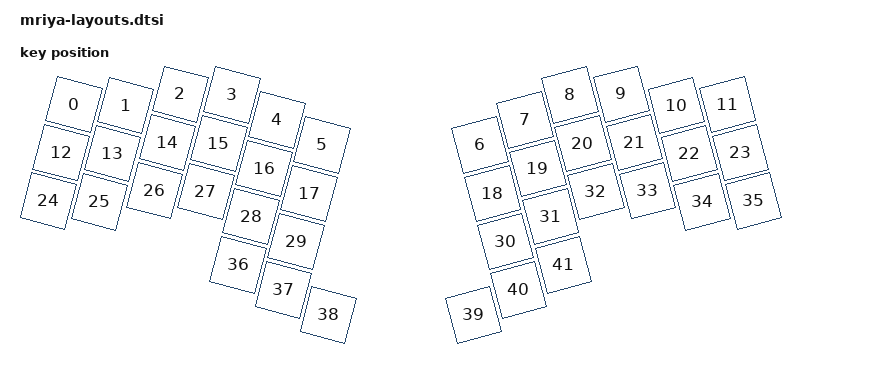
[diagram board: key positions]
#include <physical_layouts.dtsi>

/ {
    mriya_layout: mriya_layout_0 {
        compatible = "zmk,physical-layout";
        display-name = "MRIYA";

        kscan = <&kscan0>;
        transform = <&matrix_transform0>;

        keys  //                     w   h    x    y     rot    rx    ry
            = <&key_physical_attrs 100 100    0  100    1500   700    50>
            , <&key_physical_attrs 100 100  100   75    1500   700    50>
            , <&key_physical_attrs 100 100  200   25    1500   700    50>
            , <&key_physical_attrs 100 100  300    0    1500   700    50>
            , <&key_physical_attrs 100 100  400   25    1500   700    50>
            , <&key_physical_attrs 100 100  500   50    1500   700    50>
            , <&key_physical_attrs 100 100  800   50 (-1500)   700    50>
            , <&key_physical_attrs 100 100  900   25 (-1500)   700    50>
            , <&key_physical_attrs 100 100 1000    0 (-1500)   700    50>
            , <&key_physical_attrs 100 100 1100   25 (-1500)   700    50>
            , <&key_physical_attrs 100 100 1200   75 (-1500)   700    50>
            , <&key_physical_attrs 100 100 1300  100 (-1500)   700    50>
            , <&key_physical_attrs 100 100    0  200    1500   700    50>
            , <&key_physical_attrs 100 100  100  175    1500   700    50>
            , <&key_physical_attrs 100 100  200  125    1500   700    50>
            , <&key_physical_attrs 100 100  300  100    1500   700    50>
            , <&key_physical_attrs 100 100  400  125    1500   700    50>
            , <&key_physical_attrs 100 100  500  150    1500   700    50>
            , <&key_physical_attrs 100 100  800  150 (-1500)   700    50>
            , <&key_physical_attrs 100 100  900  125 (-1500)   700    50>
            , <&key_physical_attrs 100 100 1000  100 (-1500)   700    50>
            , <&key_physical_attrs 100 100 1100  125 (-1500)   700    50>
            , <&key_physical_attrs 100 100 1200  175 (-1500)   700    50>
            , <&key_physical_attrs 100 100 1300  200 (-1500)   700    50>
            , <&key_physical_attrs 100 100    0  300    1500   700    50>
            , <&key_physical_attrs 100 100  100  275    1500   700    50>
            , <&key_physical_attrs 100 100  200  225    1500   700    50>
            , <&key_physical_attrs 100 100  300  200    1500   700    50>
            , <&key_physical_attrs 100 100  400  225    1500   700    50>
            , <&key_physical_attrs 100 100  500  250    1500   700    50>
            , <&key_physical_attrs 100 100  800  250 (-1500)   700    50>
            , <&key_physical_attrs 100 100  900  225 (-1500)   700    50>
            , <&key_physical_attrs 100 100 1000  200 (-1500)   700    50>
            , <&key_physical_attrs 100 100 1100  225 (-1500)   700    50>
            , <&key_physical_attrs 100 100 1200  275 (-1500)   700    50>
            , <&key_physical_attrs 100 100 1300  300 (-1500)   700    50>
            , <&key_physical_attrs 100 100  400  325    1500   700    50>
            , <&key_physical_attrs 100 100  500  350    1500   700    50>
            , <&key_physical_attrs 100 100  600  375    1500   700    50>
            , <&key_physical_attrs 100 100  700  375 (-1500)   700    50>
            , <&key_physical_attrs 100 100  800  350 (-1500)   700    50>
            , <&key_physical_attrs 100 100  900  325 (-1500)   700    50>
            ;
    };

    mriya_position_map {
        compatible = "zmk,physical-layout-position-map";
        complete;

        origin { 
            physical-layout = <&mriya_layout>;
            positions
                = < 5  3  1  0  2  4 24 22 21 23 25 26 11  9  7  6>
                , < 8 10 30 28 27 29 31 32 17 15 13 12 14 16 36 34>
                , <33 35 37 38 18 19 20 41 40 39>
                ;
        };

    };
};
